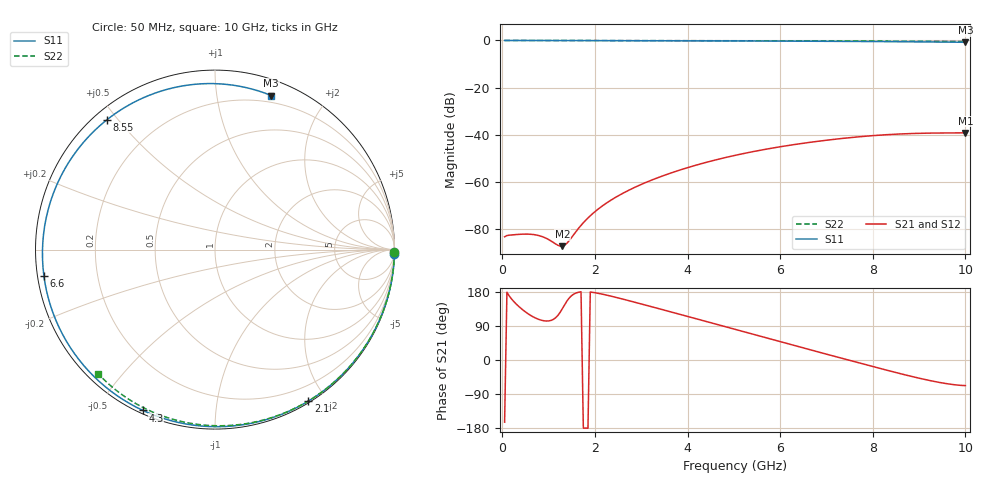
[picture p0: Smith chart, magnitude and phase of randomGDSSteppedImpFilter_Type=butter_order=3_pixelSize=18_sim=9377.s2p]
! freq	dB(S11)	phase(S11)	dB(S12)	phase(S12)
!  dB(S21)	phase(S21)	dB(S22)	phase(S22)
!S-par simulation data
#  GHz  S  DB  R 50
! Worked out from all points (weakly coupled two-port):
!   200 points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, 50 MHz to 10 GHz, reference 50 ohm
!   highest |S21| = -39.24 dB at 10 GHz (marker M1); lowest = -87.3 dB at 1.3 GHz (marker M2)
!   lowest |S11| = -0.8 dB at 10 GHz (marker M3), VSWR 22.19, Z = 6.83 + j71 ohm
!   |S11| at or under -10 dB: nowhere
!   |S22| runs from -0.4 to 0.0 dB; largest |S21 - S12| = 0
!   S11 on the Smith chart (normalised r, x): 50 MHz: 0, -80; 2.1 GHz: 0.02, -1.79; 4.3 GHz: 0.01, -0.65; 6.6 GHz: 0.02, -0.08; 8.55 GHz: 0.04, +0.47; 10 GHz: 0.14, +1.42
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0.05  -0.00 -1.4  -83.37 -164.1  -83.37 -164.1  -0.00 -0.8
0.65  -0.02 -18.5  -82.36 115.0  -82.36 115.0  -0.01 -9.9
1.3  -0.05 -36.6  -87.35 136.2  -87.35 136.2  -0.02 -19.7
1.6  -0.06 -44.9  -80.92 177.2  -80.92 177.2  -0.03 -24.2
1.65  -0.06 -46.2  -79.68 178.9  -79.68 178.9  -0.03 -24.9
1.75  -0.06 -48.9  -77.40 -179.6  -77.40 -179.6  -0.03 -26.4
2.1  -0.07 -58.3  -71.14 175.3  -71.14 175.3  -0.04 -31.6
2.65  -0.09 -72.8  -64.41 159.2  -64.41 159.2  -0.05 -39.6
3.4  -0.12 -91.9  -57.96 134.9  -57.96 134.9  -0.07 -50.3
4.3  -0.16 -114.2  -52.31 105.1  -52.31 105.1  -0.09 -62.8
5.05  -0.20 -132.5  -48.68 79.9  -48.68 79.9  -0.11 -72.8
5.85  -0.25 -152.2  -45.64 53.2  -45.64 53.2  -0.14 -83.2
6.6  -0.31 -171.4  -43.37 28.5  -43.37 28.5  -0.18 -92.6
6.7  -0.32 -174.0  -43.11 25.2  -43.11 25.2  -0.18 -93.9
7.55  -0.41 162.1  -41.18 -2.6  -41.18 -2.6  -0.23 -104.2
7.95  -0.45 149.8  -40.49 -15.6  -40.49 -15.6  -0.26 -109.0
8.35  -0.50 136.7  -39.95 -28.4  -39.95 -28.4  -0.29 -113.8
8.55  -0.53 129.7  -39.75 -34.7  -39.75 -34.7  -0.30 -116.1
9  -0.59 113.0  -39.43 -48.0  -39.43 -48.0  -0.34 -121.4
9.35  -0.64 98.9  -39.31 -57.1  -39.31 -57.1  -0.38 -125.5
9.7  -0.71 83.8  -39.26 -64.3  -39.26 -64.3  -0.42 -129.7
10  -0.78 69.9  -39.24 -67.6  -39.24 -67.6  -0.45 -133.3
